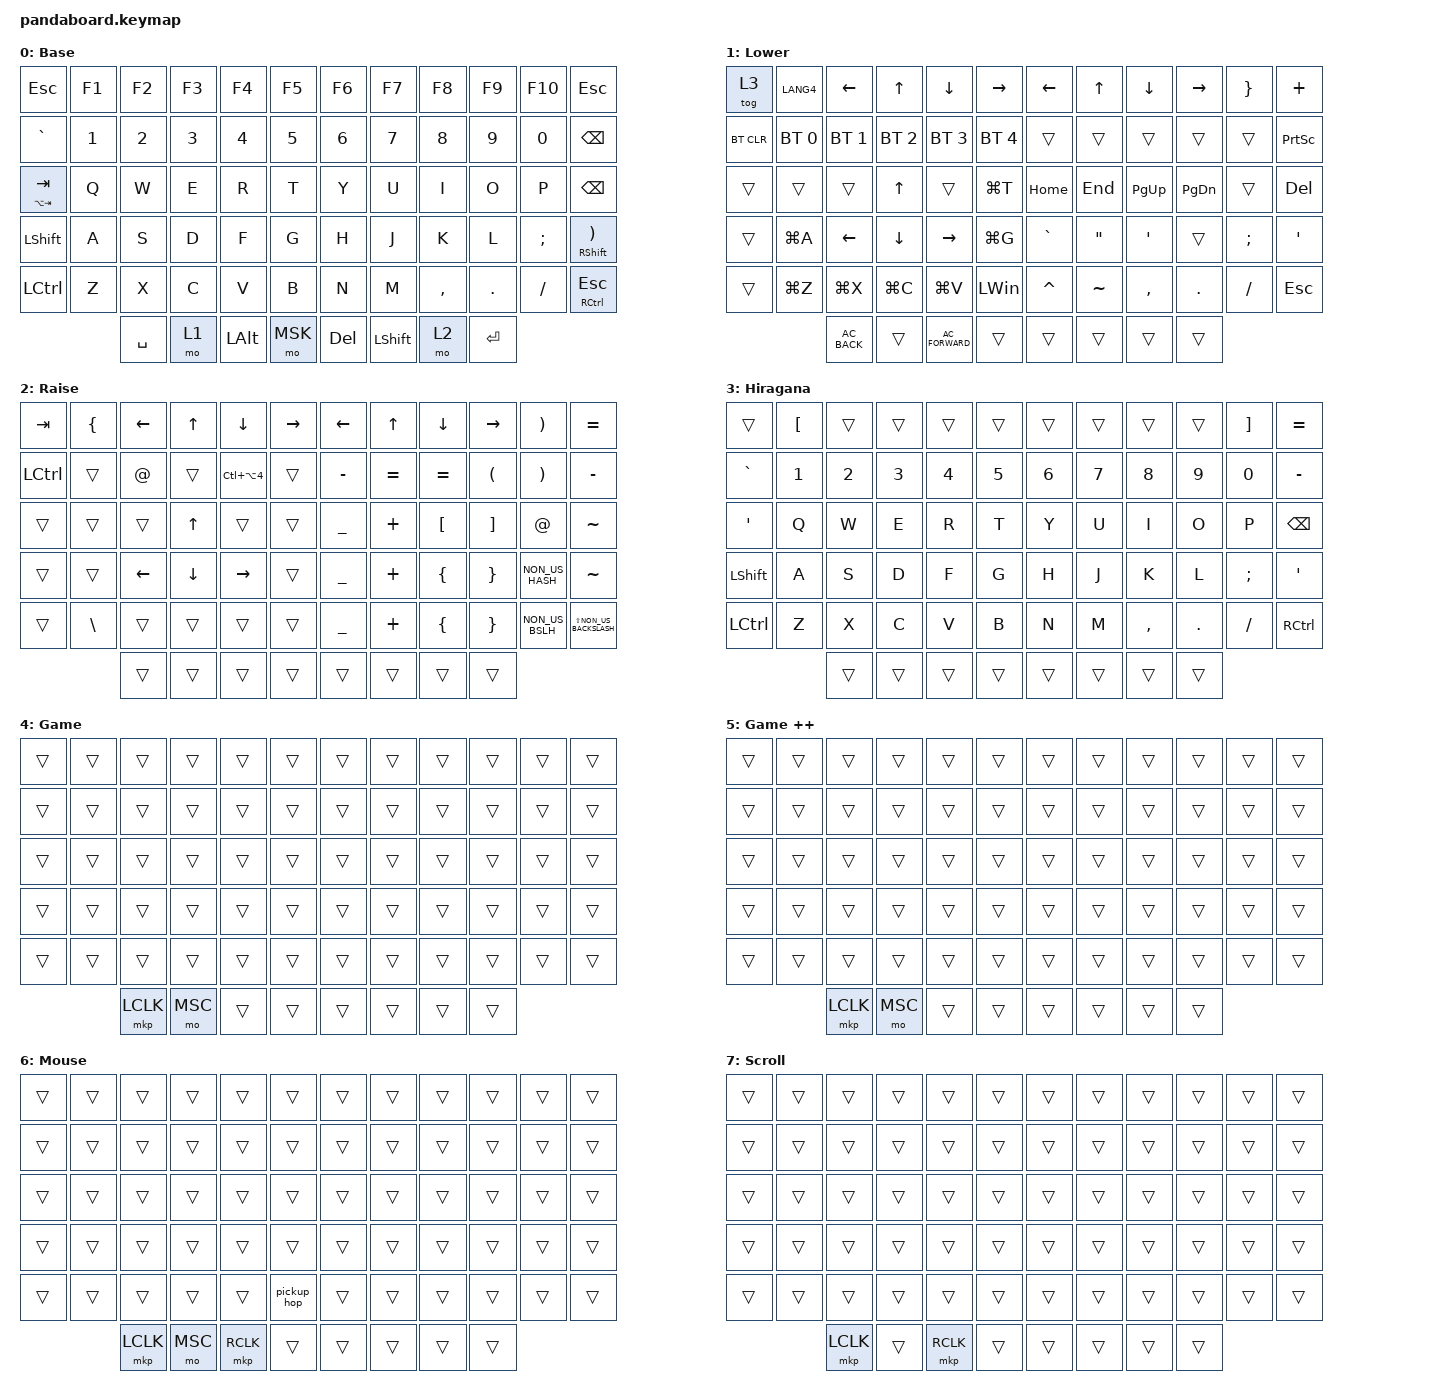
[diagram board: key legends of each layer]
#include <behaviors/mouse_keys.dtsi>
#include <behaviors/mouse_key_press.dtsi>
#include <behaviors/mouse_key_toggle.dtsi>
#include <dt-bindings/zmk/behaviors.h>
#include <dt-bindings/zmk/mouse.h>
#include <dt-bindings/zmk/input_transform.h>
#include <input/processors/report_rate_limit.dtsi>
#include <input/processors/xyz.dtsi>
#include <behaviors.dtsi>
#include <dt-bindings/zmk/bt.h>
#include <dt-bindings/zmk/keys.h>
#include <dt-bindings/zmk/pointing.h>

// index of keymap layers

#define DEF 0 // default layer
#define MSK 6 // mouse key layer
#define MSC 7 // mouse scoll layer

/ {
    behaviors {
        m_v: mouse_move {
            compatible = "zmk,behavior-input-two-axis";
            #binding-cells = <1>;
            trigger-period-ms = <12>; // slow down for OTA, default is 3ms
            x-input-code = <INPUT_REL_X>;
            y-input-code = <INPUT_REL_Y>;
            time-to-max-speed-ms = <300>;
            acceleration-exponent = <1>;
        };

        m_s: mouse_scroll {
            compatible = "zmk,behavior-input-two-axis";
            #binding-cells = <1>;
            trigger-period-ms = <12>; // slow down for OTA, default is 3ms
            x-input-code = <INPUT_REL_HWHEEL>;
            y-input-code = <INPUT_REL_WHEEL>;
            time-to-max-speed-ms = <50>;
            acceleration-exponent = <1>;
        };
    };

    mmv_input_listener {
        compatible = "zmk,input-listener";
        device = <&m_v>;
    };

    mms_input_listener {
        compatible = "zmk,input-listener";
        device = <&m_s>;
    };

    macros {
        pickup_hop: pickup_hop {
            compatible = "zmk,behavior-macro";
            #binding-cells = <0>;
            bindings = <&mkp LCLK &none &kp LC(E)>;
            label = "PICKUP_HOP";
            wait-ms = <700>;
            tap-ms = <55>;
        };
    };

    keymap {
        compatible = "zmk,keymap";

        Base {
            label = "Base";

            // -----------------------------------------------------------------------------------------
            // |  Escape |  F1 |  F2 |  F3 |  F4 |  F5 |   |  F6 |  F7  |  F8 |  F9 | F10 |  +   |
            // |  `   |  1  |  2  |  3  |  4  |  5  |   |  6  |  7   |  8  |  9  |  0  |  -   |
            // |  TAB |  Q  |  W  |  E  |  R  |  T  |   |  Y  |  U   |  I  |  O  |  P  | BKSP |
            // | CTRL |  A  |  S  |  D  |  F  |  G  |   |  H  |  J   |  K  |  L  |  ;  |  '   |
            // | SHFT |  Z  |  X  |  C  |  V  |  B  |   |  N  |  M   |  ,  |  .  |  /  | ESC  |
            //                    | GUI | LWR | SPC |   | ENT | RSE  | ALT |
            //                          | LWR |               | RSE  |

            bindings = <
&kp ESCAPE       &kp F1        &kp F2        &kp F3        &kp F4        &kp F5            &kp F6          &kp F7        &kp F8        &kp F9        &kp F10       &kp ESC
&kp GRAVE        &kp NUMBER_1  &kp NUMBER_2  &kp NUMBER_3  &kp NUMBER_4  &kp N5            &kp NUMBER_6    &kp NUMBER_7  &kp NUMBER_8  &kp NUMBER_9  &kp NUMBER_0  &kp BACKSPACE
&mt LA(TAB) TAB  &kp Q         &kp W         &kp E         &kp R         &kp T             &kp Y           &kp U         &kp I         &kp O         &kp P         &kp BSPC
&kp LEFT_SHIFT   &kp A         &kp S         &kp D         &kp F         &kp G             &kp H           &kp J         &kp K         &kp L         &kp SEMI      &mt RIGHT_SHIFT RIGHT_PARENTHESIS
&kp LCTRL        &kp Z         &kp X         &kp C         &kp V         &kp B             &kp N           &kp M         &kp COMMA     &kp DOT       &kp FSLH      &mt RCTRL ESC
                               &kp SPACE     &mo 1         &kp LALT      &mo MSK  &kp DEL  &kp LEFT_SHIFT  &mo 2         &kp ENTER
            >;
        };

        Lower {
            label = "Lower";

            // -----------------------------------------------------------------------------------------
            // |  TAB |  1  |  2  |  3  |  4  |  5  |   |  6  |  7  |  8  |  9  |  0  | BKSP |
            // | BTCLR| BT1 | BT2 | BT3 | BT4 | BT5 |   | LFT | DWN |  UP | RGT |     |      |
            // | SHFT |     |     |     |     |     |   |     |     |     |     |     |      |
            // | CTRL |  A  |  S  |  D  |  F  |  G  |   |  H  |  J   |  K  |  L  |  ;  |  '   |
            // | SHFT |  Z  |  X  |  C  |  V  |  B  |   |  N  |  M   |  ,  |  .  |  /  | ESC  |
            //                    | GUI |     | SPC |   | ENT |     | ALT |
            //                          | LWR |               | RSE  |

            bindings = <
&tog 3      &kp LANG4     &kp LEFT       &kp UP_ARROW  &kp DOWN_ARROW    &kp RIGHT             &kp LEFT_ARROW  &kp UP_ARROW       &kp DOWN     &kp RIGHT      &kp RIGHT_BRACE  &kp PLUS
&bt BT_CLR  &bt BT_SEL 0  &bt BT_SEL 1   &bt BT_SEL 2  &bt BT_SEL 3      &bt BT_SEL 4          &trans          &trans             &trans       &trans         &trans           &kp PRINTSCREEN
&trans      &trans        &trans         &kp UP_ARROW  &trans            &kp LG(T)             &kp HOME        &kp END            &kp PAGE_UP  &kp PAGE_DOWN  &trans           &kp DELETE
&trans      &kp LG(A)     &kp LEFT       &kp DOWN      &kp RIGHT         &kp LG(G)             &kp GRAVE       &kp DOUBLE_QUOTES  &kp SQT      &trans         &kp SEMI         &kp SQT
&trans      &kp LG(Z)     &kp LG(X)      &kp LG(C)     &kp LG(V)         &kp LEFT_WIN          &kp CARET       &kp TILDE          &kp COMMA    &kp DOT        &kp FSLH         &kp ESC
                          &kp C_AC_BACK  &trans        &kp C_AC_FORWARD  &trans        &trans  &trans          &trans             &trans
            >;
        };

        Raise {
            // -----------------------------------------------------------------------------------------
            // |  TAB |  !  |  @  |  #  |  $  |  %  |   |  ^  |  &  |  *  |  (  |  )  | BKSP |
            // | CTRL |     |     |     |     |     |   |  -  |  =  |  [  |  ]  |  \  |  `   |
            // | SHFT |     |     |     |     |     |   |  _  |  +  |  {  |  }  | "|" |  ~   |
            // | SHFT |     |     |     |     |     |   |  _  |  +  |  {  |  }  | "|" |  ~   |
            // | SHFT |     |     |     |     |     |   |  _  |  +  |  {  |  }  | "|" |  ~   |
            //                    | GUI |     | SPC |   | ENT |     | ALT |
            //                          | LWR |               | RSE  |

            bindings = <
&kp TAB    &kp LEFT_BRACE  &kp LEFT_ARROW  &kp UP_ARROW  &kp DOWN_ARROW        &kp RIGHT          &kp LEFT   &kp UP_ARROW  &kp DOWN          &kp RIGHT             &kp RPAR               &kp EQUAL
&kp LCTRL  &trans          &kp AT_SIGN     &trans        &kp LC(LA(NUMBER_4))  &trans             &kp MINUS  &kp EQUAL     &kp EQUAL         &kp LEFT_PARENTHESIS  &kp RIGHT_PARENTHESIS  &kp MINUS
&trans     &trans          &trans          &kp UP_ARROW  &trans                &trans             &kp UNDER  &kp PLUS      &kp LEFT_BRACKET  &kp RIGHT_BRACKET     &kp AT                 &kp TILDE
&trans     &trans          &kp LEFT        &kp DOWN      &kp RIGHT             &trans             &kp UNDER  &kp PLUS      &kp LBRC          &kp RBRC              &kp NON_US_HASH        &kp TILDE
&trans     &kp BACKSLASH   &trans          &trans        &trans                &trans             &kp UNDER  &kp PLUS      &kp LBRC          &kp RBRC              &kp NON_US_BSLH        &kp LS(NON_US_BACKSLASH)
                           &trans          &trans        &trans                &trans     &trans  &trans     &trans        &trans
            >;
        };

        Hiragana {
            label = "Hiragana";
            bindings = <
&trans     &kp LBKT  &trans  &trans  &trans  &trans          &trans  &trans  &trans     &trans   &kp RBKT  &kp EQUAL
&kp GRAVE  &kp N1    &kp N2  &kp N3  &kp N4  &kp N5          &kp N6  &kp N7  &kp N8     &kp N9   &kp N0    &kp MINUS
&kp APOS   &kp Q     &kp W   &kp E   &kp R   &kp T           &kp Y   &kp U   &kp I      &kp O    &kp P     &kp BSPC
&kp LSHFT  &kp A     &kp S   &kp D   &kp F   &kp G           &kp H   &kp J   &kp K      &kp L    &kp SEMI  &kp APOS
&kp LCTRL  &kp Z     &kp X   &kp C   &kp V   &kp B           &kp N   &kp M   &kp COMMA  &kp DOT  &kp FSLH  &kp RCTRL
                     &trans  &trans  &trans  &trans  &trans  &trans  &trans  &trans
            >;
        };

        Game {
            label = "Game";
            bindings = <
&trans  &trans  &trans     &trans   &trans  &trans          &trans  &trans  &trans  &trans  &trans  &trans
&trans  &trans  &trans     &trans   &trans  &trans          &trans  &trans  &trans  &trans  &trans  &trans
&trans  &trans  &trans     &trans   &trans  &trans          &trans  &trans  &trans  &trans  &trans  &trans
&trans  &trans  &trans     &trans   &trans  &trans          &trans  &trans  &trans  &trans  &trans  &trans
&trans  &trans  &trans     &trans   &trans  &trans          &trans  &trans  &trans  &trans  &trans  &trans
                &mkp LCLK  &mo MSC  &trans  &trans  &trans  &trans  &trans  &trans
            >;
        };

        Game_++ {
            label = "Game ++";
            bindings = <
&trans  &trans  &trans     &trans   &trans  &trans          &trans  &trans  &trans  &trans  &trans  &trans
&trans  &trans  &trans     &trans   &trans  &trans          &trans  &trans  &trans  &trans  &trans  &trans
&trans  &trans  &trans     &trans   &trans  &trans          &trans  &trans  &trans  &trans  &trans  &trans
&trans  &trans  &trans     &trans   &trans  &trans          &trans  &trans  &trans  &trans  &trans  &trans
&trans  &trans  &trans     &trans   &trans  &trans          &trans  &trans  &trans  &trans  &trans  &trans
                &mkp LCLK  &mo MSC  &trans  &trans  &trans  &trans  &trans  &trans
            >;
        };

        Mouse {
            bindings = <
&trans  &trans  &trans     &trans   &trans     &trans               &trans  &trans  &trans  &trans  &trans  &trans
&trans  &trans  &trans     &trans   &trans     &trans               &trans  &trans  &trans  &trans  &trans  &trans
&trans  &trans  &trans     &trans   &trans     &trans               &trans  &trans  &trans  &trans  &trans  &trans
&trans  &trans  &trans     &trans   &trans     &trans               &trans  &trans  &trans  &trans  &trans  &trans
&trans  &trans  &trans     &trans   &trans     &pickup_hop          &trans  &trans  &trans  &trans  &trans  &trans
                &mkp LCLK  &mo MSC  &mkp RCLK  &trans       &trans  &trans  &trans  &trans
            >;
        };

        Scroll {
            bindings = <
&trans  &trans  &trans     &trans  &trans     &trans          &trans  &trans  &trans  &trans  &trans  &trans
&trans  &trans  &trans     &trans  &trans     &trans          &trans  &trans  &trans  &trans  &trans  &trans
&trans  &trans  &trans     &trans  &trans     &trans          &trans  &trans  &trans  &trans  &trans  &trans
&trans  &trans  &trans     &trans  &trans     &trans          &trans  &trans  &trans  &trans  &trans  &trans
&trans  &trans  &trans     &trans  &trans     &trans          &trans  &trans  &trans  &trans  &trans  &trans
                &mkp LCLK  &trans  &mkp RCLK  &trans  &trans  &trans  &trans  &trans
            >;
        };
    };
};
